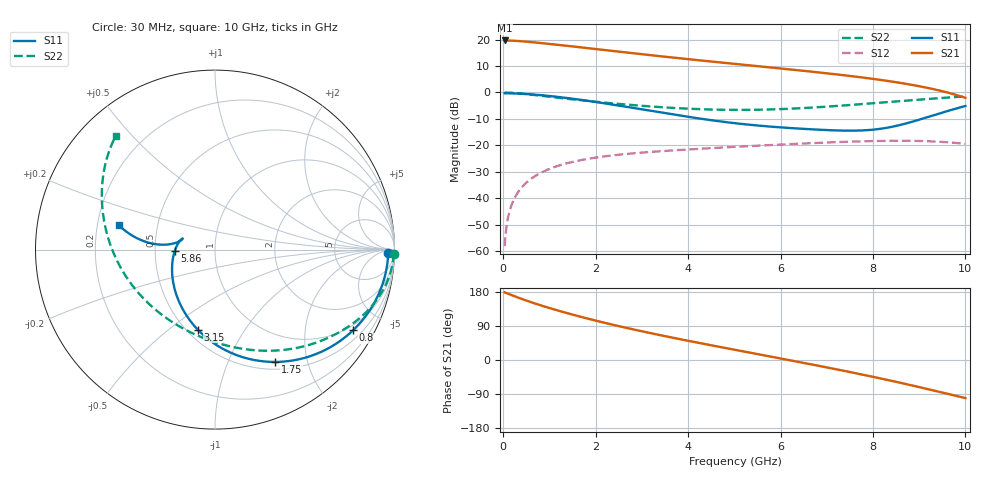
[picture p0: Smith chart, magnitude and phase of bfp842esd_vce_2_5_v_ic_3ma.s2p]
!2-port S-parameter file
!Title: test for scattering parameters
!Generated by ngspice at Tue Jul 20 11:23:25  2021
# Hz S RI R 50
!freq  ReS11  ImS11  ReS21  ImS21  ReS12  ImS12  ReS22  ImS22
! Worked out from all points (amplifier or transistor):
!   998 points, 30 MHz to 10 GHz, reference 50 ohm
!   highest |S21| = 19.6 dB at 30 MHz (marker M1)
!   |S21| within 3 dB of that: start of sweep to 1.881 GHz
!   unconditionally stable (mu >= 1): 3.754 GHz to end of sweep
!   at 1.69 GHz: K = 0.49, MSG = 21.3 dB, |S12| = -25.5 dB
!   at 5.02 GHz: K = 1.20, MAG = 12.9 dB, |S12| = -20.6 dB
!   at 10 GHz: K = 1.48, MAG = 4.6 dB, |S12| = -19.4 dB
!   S11 on the Smith chart (normalised r, x): 30 MHz: 42, -25; 800 MHz: 0.81, -3.53; 1.75 GHz: 0.60, -1.51; 3.15 GHz: 0.57, -0.64; 5.86 GHz: 0.63, -0.01; 10 GHz: 0.29, +0.12
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3e7  0.965 -0.0199  -9.592 0.245  2.34e-05 0.00125  0.9954 -0.0221
1.3e8  0.9591 -0.0857  -9.499 1.051  0.000424 0.00537  0.9859 -0.0945
2.6e8  0.941 -0.1688  -9.22 2.041  0.00164 0.0105  0.9579 -0.1816
5.2e8  0.8745 -0.319  -8.287 3.697  0.00593 0.0196  0.8696 -0.3194
8e8  0.77 -0.4488  -7.011 4.972  0.0123 0.0273  0.7607 -0.4168
1.01e9  0.6781 -0.5221  -5.996 5.635  0.0177 0.0317  0.6816 -0.4662
1.23e9  0.5757 -0.5766  -4.933 6.108  0.0236 0.0351  0.6031 -0.5033
1.7e9  0.3589 -0.6254  -2.795 6.501  0.0362 0.0388  0.4506 -0.5488
1.75e9  0.337 -0.6259  -2.584 6.503  0.0375 0.039  0.4355 -0.5516
2.07e9  0.2066 -0.6128  -1.333 6.369  0.0455 0.0392  0.3439 -0.5622
2.44e9  0.0787 -0.5704  -0.1098 5.98  0.0538 0.038  0.2478 -0.5625
2.79e9  -0.0186 -0.5134  0.828 5.464  0.0608 0.0358  0.1653 -0.5543
3.15e9  -0.0963 -0.4458  1.587 4.849  0.0672 0.0329  0.0873 -0.5397
3.36e9  -0.1321 -0.4044  1.943 4.469  0.0707 0.0309  0.0444 -0.5289
4.14e9  -0.2148 -0.2529  2.798 3.039  0.0821 0.0224  -0.1029 -0.4763
5.02e9  -0.2394 -0.1065  3.087 1.553  0.0933 0.0101  -0.2541 -0.3931
5.86e9  -0.2234 -0.00542  2.897 0.3708  0.1021 -0.00563  -0.3855 -0.2853
6.68e9  -0.1946 0.0501  2.414 -0.5077  0.1073 -0.0261  -0.4958 -0.1496
7.52e9  -0.1795 0.0612  1.726 -1.088  0.1054 -0.0526  -0.5805 0.0201
8.34e9  -0.2146 0.0393  0.9803 -1.315  0.0908 -0.0814  -0.6254 0.211
9.1e9  -0.3236 0.0294  0.3412 -1.214  0.0615 -0.1036  -0.6241 0.404
1e10  -0.5375 0.1374  -0.1444 -0.7789  0.0102 -0.1062  -0.5517 0.6355
